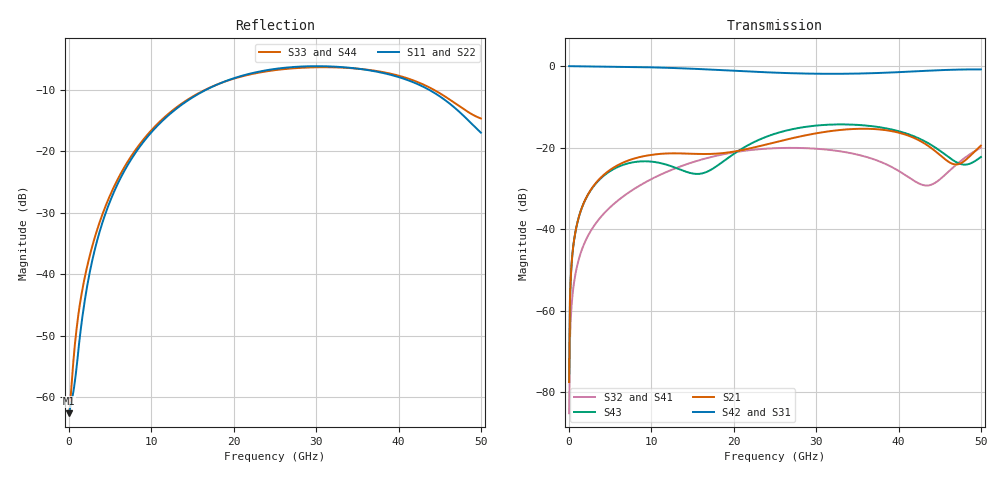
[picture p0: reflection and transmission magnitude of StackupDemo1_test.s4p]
! Touchstone file exported from HFSS 2019.1.0
!  File:  C:/Users/33202/Desktop/HFSS script/StackupDemo1_test.aedt
!  Generated:  5:38:57 ä¸å  8æ 29, 2025
!  Design:  StackupDesign
!  Project:  StackupDemo1_test
!  Setup:  Setup1
!  Solution:  Sweep1
! Variables:
!  Position_via_L11 = 0um
!  Position_via_L16 = 0um
!  Position_via_L4 = 758um
!  Position_via_L8 = 336um
!  Position_via_L9 = 240um
!  R_L10_pad_out = 45um
!  R_L11_pad_in = 45um
!  R_L11_pad_out = 45um
!  R_L12_pad_out = 45um
!  R_L13_pad_out = 45um
!  R_L14_pad_out = 45um
!  R_L15_pad_out = 45um
!  R_L16_pad_in = 150um
!  R_L16_pad_out = 150um
!  R_L4_pad_in = 45um
!  R_L4_pad_out = 45um
!  R_L5_pad_out = 45um
!  R_L6_pad_out = 45um
!  R_L7_pad_out = 45um
!  R_L8_pad_in = 50um
!  R_L8_pad_out = 100um
!  R_L9_pad_in = 100um
!  R_L9_pad_out = 50um
!  R_anti_L11 = 90um
!  R_anti_L16 = 450um
!  R_anti_L4 = 90um
!  R_anti_L8 = 180um
!  R_anti_L9 = 90um
!  R_anti_pcb = 400um
!  R_bottom_anti = 450um
!  R_bottom_pad = 150um
!  R_core_anti = 180um
!  R_core_pad = 100um
!  R_core_via = 50um
!  R_micro_anti = 90um
!  R_micro_c_anti = 100um
!  R_micro_c_pad = 50um
!  R_micro_c_via = 30um
!  R_micro_pad = 45um
!  R_micro_via = 30um
!  R_pad_pcb = 150um
!  R_via_pcb = 50um
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# GHz S RI R
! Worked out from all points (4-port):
!   500 points, 10 MHz to 50 GHz, reference per port
!   strongest paths, dB at 10 MHz, 12.53 GHz, 25.06 GHz, 37.58 GHz, 50 GHz:
!     S42: 0.0, -0.4, -1.6, -1.7, -0.8
!     S31: 0.0, -0.4, -1.6, -1.7, -0.8
!     S21: -77.5, -21.4, -18.7, -15.5, -19.5
!     S43: -77.5, -24.6, -16.6, -15.0, -22.3
!     S32: -85.2, -25.4, -20.1, -23.3, -20.0
!     S41: -85.2, -25.4, -20.1, -23.3, -20.0
!   lowest |S11| = -62.7 dB at 10 MHz (marker M1), VSWR 1.00
!   |S11| at or under -10 dB: start of sweep to 16.55 GHz; 43.78 GHz to end of sweep
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0.01  0.000736 1.08e-05  3.92e-05 0.000127  0.9992 -0.00151  -3.79e-05 -3.97e-05
      3.92e-05 0.000127  0.000736 1.08e-05  -3.79e-05 -3.97e-05  0.9992 -0.00151
      0.9992 -0.00151  -3.79e-05 -3.97e-05  0.000737 1e-05  3.93e-05 0.000127
      -3.79e-05 -3.97e-05  0.9992 -0.00151  3.93e-05 0.000127  0.000736 9.97e-06
0.4107214  0.000846 -0.000537  0.000382 0.00492  0.9962 -0.0591  -0.00018 -0.0015
           0.000382 0.00492  0.000846 -0.000539  -0.00018 -0.0015  0.9962 -0.0591
           0.9962 -0.0591  -0.00018 -0.0015  0.00142 -0.00063  0.000489 0.00495
           -0.00018 -0.0015  0.9962 -0.0591  0.000489 0.00495  0.00142 -0.000631
1.212164  -0.00108 -0.00247  0.00209 0.0142  0.981 -0.1704  -0.000829 -0.00428
          0.00209 0.0142  -0.00108 -0.00248  -0.000829 -0.00428  0.981 -0.1704
          0.981 -0.1704  -0.000829 -0.00428  0.0037 -0.00354  0.00332 0.0139
          -0.000829 -0.00428  0.981 -0.1704  0.00332 0.0139  0.0037 -0.00355
6.321363  -0.0542 0.0301  0.0377 0.0516  0.6236 -0.7589  -0.0183 -0.0156
          0.0377 0.0516  -0.0543 0.0301  -0.0183 -0.0156  0.6235 -0.759
          0.6236 -0.7589  -0.0183 -0.0156  0.0171 -0.0647  0.0547 0.0251
          -0.0183 -0.0156  0.6235 -0.759  0.0547 0.0251  0.0171 -0.0647
22.65076  0.3494 0.2696  0.0865 0.0532  -0.8513 -0.0383  0.0461 0.0828
          0.0865 0.0532  0.3496 0.2695  0.0461 0.0828  -0.8512 -0.0382
          -0.8513 -0.0383  0.0461 0.0828  -0.3446 0.2635  -0.0351 0.1142
          0.0461 0.0828  -0.8512 -0.0382  -0.0351 0.1142  -0.3448 0.2636
37.07673  0.2797 -0.3536  0.1658 -0.0326  0.1366 0.8096  0.0113 -0.0706
          0.1658 -0.0326  0.2793 -0.3537  0.0112 -0.0706  0.1366 0.8096
          0.1366 0.8096  0.0112 -0.0706  0.3817 0.2484  0.1775 -0.039
          0.0113 -0.0706  0.1366 0.8096  0.1775 -0.039  0.3814 0.2486
50  -0.1337 0.0489  0.1049 0.014  0.8416 -0.3508  -0.0297 -0.0953
    0.1049 0.014  -0.1332 0.0497  -0.0297 -0.0954  0.8415 -0.3511
    0.8416 -0.3508  -0.0297 -0.0954  0.1797 -0.0474  -0.0562 0.0523
    -0.0297 -0.0953  0.8415 -0.3511  -0.0562 0.0523  0.18 -0.0466
